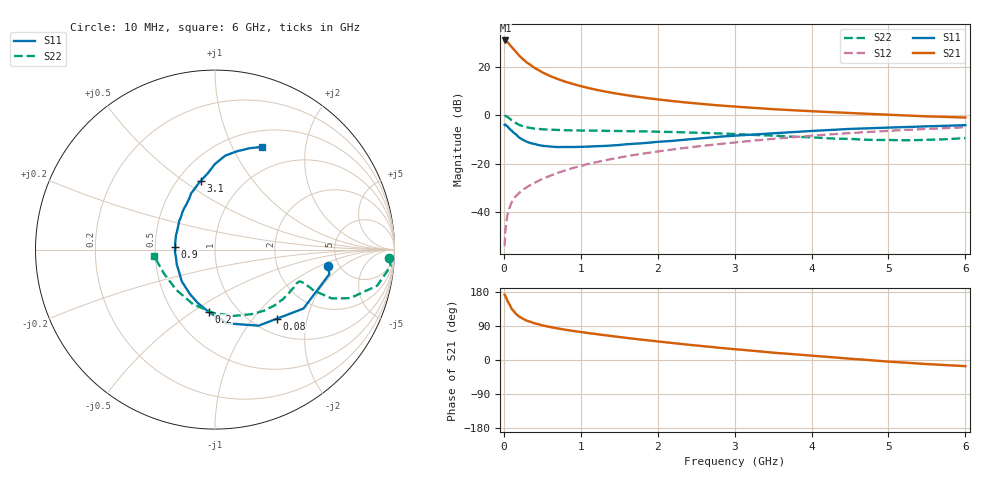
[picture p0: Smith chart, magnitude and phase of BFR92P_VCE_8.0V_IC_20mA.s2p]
! Infineon Technologies  Discrete & RF Semiconductors
! BFR92P
! VCE =  8.0 V,  IC =  20 mA
! Common Emitter S-Parameters:  Apr 2014
# GHz  S  MA  R  50
!  f  S11  S21  S12  S22
! GHz  MAG  ANG  MAG  ANG  MAG  ANG  MAG  ANG
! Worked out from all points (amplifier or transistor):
!   77 points, 10 MHz to 6 GHz, reference 50 ohm
!   highest |S21| = 31.0 dB at 20 MHz (marker M1)
!   |S21| within 3 dB of that: start of sweep to 110.4 MHz
!   unconditionally stable (mu >= 1): 519.3 MHz to 2.206 GHz
!   at 130 MHz: K = 0.53, MSG = 30.8 dB, |S12| = -34.4 dB
!   at 2.2 GHz: K = 1.00, MAG = 9.8 dB, |S12| = -14.0 dB
!   at 6 GHz: K = 0.85, MSG = 2.0 dB, |S12| = -4.9 dB
!   S11 on the Smith chart (normalised r, x): 10 MHz: 4.09, -1.23; 80 MHz: 1.27, -1.33; 200 MHz: 0.74, -0.58; 900 MHz: 0.64, +0.02; 3.1 GHz: 0.65, +0.58; 6 GHz: 0.69, +1.31
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0.01  0.6351 -8.1  34.93 172.6  0.002 83.1  0.9708 -2.7
0.02  0.6517 -12.1  35.29 169.0  0.0041 83.3  0.9833 -5.4
0.05  0.5925 -33.6  32.49 154.7  0.0094 76.5  0.9251 -12.6
0.08  0.516 -48.3  28.23 144.1  0.0132 70.1  0.8477 -16.7
0.1  0.4885 -60.2  26.08 135.3  0.0158 67.5  0.7988 -19.8
0.15  0.4168 -80.5  21.18 123.3  0.0211 66.6  0.7052 -22.7
0.2  0.3488 -95.7  17.18 114.3  0.0251 65.5  0.6373 -22.6
0.25  0.3131 -107.7  14.39 108.7  0.0291 66.9  0.5984 -22.6
0.3  0.2852 -119.0  12.34 103.5  0.0332 67.1  0.5673 -21.7
0.4  0.2567 -136.0  9.563 96.7  0.0406 69.8  0.5342 -20.9
0.5  0.236 -148.1  7.761 91.5  0.0489 70.7  0.5183 -20.5
0.6  0.2283 -158.9  6.526 87.1  0.0566 71.5  0.5074 -20.5
0.7  0.2219 -167.9  5.637 83.3  0.0652 72.0  0.5014 -20.8
0.8  0.2235 -176.7  4.962 79.9  0.0735 72.4  0.4957 -21.7
0.9  0.2226 176.3  4.45 76.7  0.0823 72.4  0.4912 -22.8
1.1  0.2271 165.3  3.678 71.0  0.1002 72.0  0.4877 -25.2
1.5  0.2453 146.3  2.765 60.7  0.1348 69.9  0.4773 -31.1
2.1  0.2917 124.7  2.056 46.9  0.1895 65.5  0.4576 -41.4
3.1  0.3904 101.8  1.487 26.8  0.2864 55.8  0.4057 -63.1
4.1  0.4868 88.6  1.2 9.9  0.3906 44.5  0.3452 -95.1
5.1  0.5672 76.2  1.018 -5.5  0.4901 30.9  0.3085 -138.1
6  0.6295 65.5  0.905 -16.2  0.5707 18.1  0.3413 -173.9
